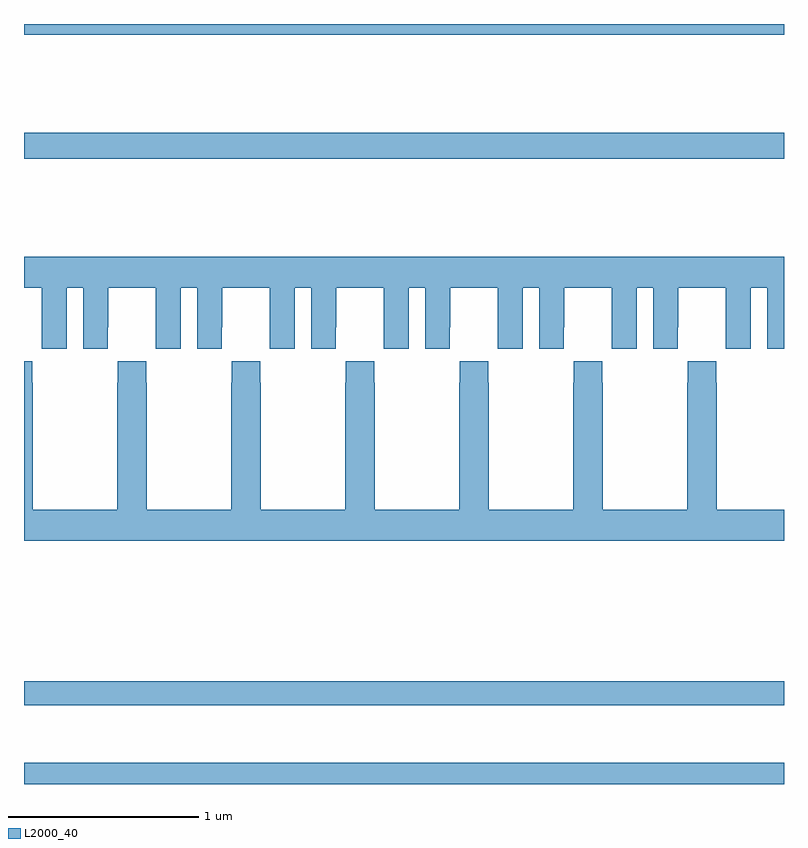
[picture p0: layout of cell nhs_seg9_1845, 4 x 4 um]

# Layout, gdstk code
import gdstk
lib = gdstk.Library(unit=1e-6, precision=1e-09)
def R(c, l, rs):  # rectangles x0, y0, x1, y1
    for r in rs: c.add(gdstk.rectangle(r[:2], r[2:], *l))
def P(c, l, *ps):  # polygons
    for p in ps: c.add(gdstk.Polygon(p, *l))
L2000_40 = (2000, 40)

nhs_seg9_1845 = lib.new_cell('nhs_seg9_1845')
R(nhs_seg9_1845, L2000_40, [(215,1168.5,219,1168.612), (215,1168.914,219,1169.042), (215,1171.792,219,1171.928), (215,1172.444,219,1172.5)])
P(nhs_seg9_1845, L2000_40, [(215.224,1171.112),(215.312,1171.112),(215.312,1170.792),(215.442,1170.792),(215.442,1170.904),(215.443,1170.904),(215.443,1171.112),(215.693,1171.112),(215.693,1170.904),(215.694,1170.904),(215.694,1170.792),(215.824,1170.792),(215.824,1171.112),(215.912,1171.112),(215.912,1170.792),(216.042,1170.792),(216.042,1170.904),(216.043,1170.904),(216.043,1171.112),(216.293,1171.112),(216.293,1170.904),(216.294,1170.904),(216.294,1170.792),(216.424,1170.792),(216.424,1171.112),(216.512,1171.112),(216.512,1170.792),(216.642,1170.792),(216.642,1170.904),(216.643,1170.904),(216.643,1171.112),(216.893,1171.112),(216.893,1170.904),(216.894,1170.904),(216.894,1170.792),(217.024,1170.792),(217.024,1171.112),(217.112,1171.112),(217.112,1170.792),(217.242,1170.792),(217.242,1170.904),(217.243,1170.904),(217.243,1171.112),(217.493,1171.112),(217.493,1170.904),(217.494,1170.904),(217.494,1170.792),(217.624,1170.792),(217.624,1171.112),(217.712,1171.112),(217.712,1170.792),(217.842,1170.792),(217.842,1170.904),(217.843,1170.904),(217.843,1171.112),(218.093,1171.112),(218.093,1170.904),(218.094,1170.904),(218.094,1170.792),(218.224,1170.792),(218.224,1171.112),(218.312,1171.112),(218.312,1170.792),(218.442,1170.792),(218.442,1170.904),(218.443,1170.904),(218.443,1171.112),(218.693,1171.112),(218.693,1170.904),(218.694,1170.904),(218.694,1170.792),(218.824,1170.792),(218.824,1171.112),(218.912,1171.112),(218.912,1170.792),(219,1170.792),(219,1171.276),(215,1171.276),(215,1171.112),(215.093,1171.112),(215.093,1170.904),(215.094,1170.904),(215.094,1170.792),(215.224,1170.792)],
  [(219,1169.944),(218.646,1169.944),(218.646,1170.611),(218.643,1170.611),(218.643,1170.724),(218.493,1170.724),(218.493,1170.611),(218.491,1170.611),(218.491,1169.944),(218.046,1169.944),(218.046,1170.611),(218.043,1170.611),(218.043,1170.724),(217.893,1170.724),(217.893,1170.611),(217.891,1170.611),(217.891,1169.944),(217.446,1169.944),(217.446,1170.611),(217.443,1170.611),(217.443,1170.724),(217.293,1170.724),(217.293,1170.611),(217.291,1170.611),(217.291,1169.944),(216.846,1169.944),(216.846,1170.611),(216.843,1170.611),(216.843,1170.724),(216.693,1170.724),(216.693,1170.611),(216.691,1170.611),(216.691,1169.944),(216.246,1169.944),(216.246,1170.611),(216.243,1170.611),(216.243,1170.724),(216.093,1170.724),(216.093,1170.611),(216.091,1170.611),(216.091,1169.944),(215.646,1169.944),(215.646,1170.611),(215.643,1170.611),(215.643,1170.724),(215.493,1170.724),(215.493,1170.611),(215.491,1170.611),(215.491,1169.944),(215.046,1169.944),(215.046,1170.611),(215.043,1170.611),(215.043,1170.724),(215,1170.724),(215,1169.78),(219,1169.78)])

lib.write_gds('nhs_seg9_1845.gds')
